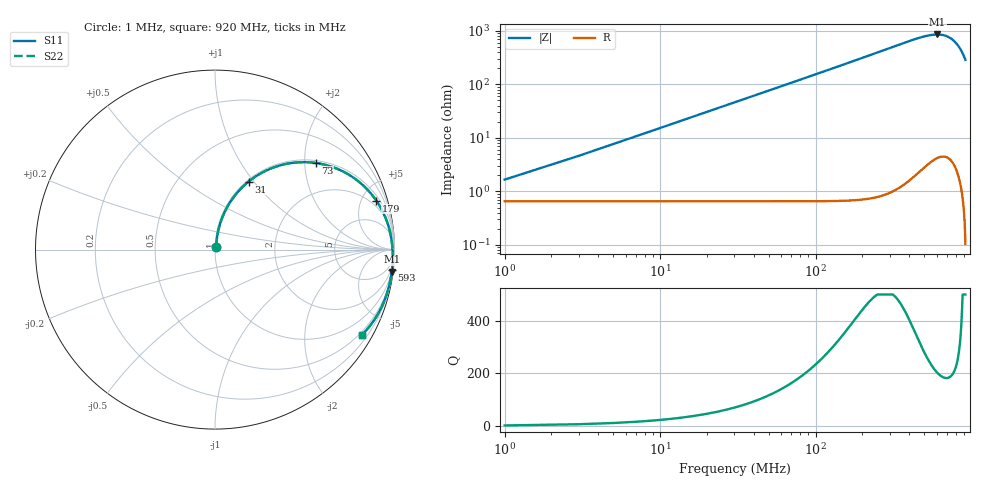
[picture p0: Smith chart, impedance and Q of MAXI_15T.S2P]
! Coilcraft 132-15SM_ Maxi Spring Air Core Inductor
! 28 May 2003
# MHZ S MA R 50
!Freq  MagS11  AngS11  MagS21  AngS21  MagS12  AngS12  MagS22  AngS22
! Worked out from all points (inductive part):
!   461 points, 1 MHz to 920 MHz, reference 50 ohm
!   read as one part in series: L = 243 nH near 5 MHz
!   highest |Z| = 853 ohm at 607 MHz (marker M1)
!   S11 on the Smith chart (normalised r, x): 1 MHz: 1.01, +0.03; 31 MHz: 1.02, +0.94; 73 MHz: 1.06, +2.27; 179 MHz: 1.39, +6.43; 593 MHz: 1, -17; 920 MHz: 0.40, -3.67
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1  0.01637 65.7  0.9934 -0.9  0.9934 -0.9  0.01637 65.7
3  0.04549 79.2  0.9925 -2.6  0.9925 -2.6  0.0455 79.2
7  0.1048 80.3  0.988 -6.1  0.988 -6.1  0.1048 80.3
9  0.1341 79.4  0.9845 -7.8  0.9845 -7.8  0.1342 79.4
11  0.1632 78.2  0.9802 -9.6  0.9802 -9.6  0.1632 78.2
15  0.2199 75.4  0.9692 -12.9  0.9692 -12.9  0.22 75.4
19  0.2746 72.4  0.9553 -16.2  0.9553 -16.2  0.2747 72.4
31  0.4224 63.7  0.9005 -25.5  0.9005 -25.5  0.4225 63.7
49  0.5934 52.3  0.7997 -37.2  0.7997 -37.2  0.5935 52.3
73  0.74 40.7  0.6682 -48.9  0.6682 -48.9  0.7401 40.7
109  0.855 29.2  0.5151 -60.6  0.5151 -60.6  0.8552 29.2
155  0.9207 20.2  0.3874 -69.6  0.3874 -69.6  0.9209 20.2
179  0.9392 16.9  0.3408 -72.9  0.3408 -72.9  0.9394 16.9
309  0.9791 6.1  0.2005 -83.8  0.2005 -83.8  0.9794 6.1
461  0.9902 -1.2  0.1354 -91.0  0.1354 -91.0  0.9904 -1.2
593  0.9923 -6.6  0.1165 -96.3  0.1165 -96.3  0.9926 -6.6
607  0.9923 -7.2  0.1162 -96.9  0.1162 -96.9  0.9926 -7.2
615  0.9923 -7.5  0.1163 -97.2  0.1163 -97.2  0.9925 -7.5
693  0.9912 -11.0  0.1234 -100.7  0.1234 -100.7  0.9915 -11.0
767  0.9879 -15.0  0.146 -104.7  0.146 -104.7  0.9881 -15.0
845  0.9779 -20.8  0.1999 -110.6  0.1999 -110.6  0.9782 -20.8
920  0.9461 -30.2  0.3156 -120.1  0.3156 -120.1  0.9463 -30.2
